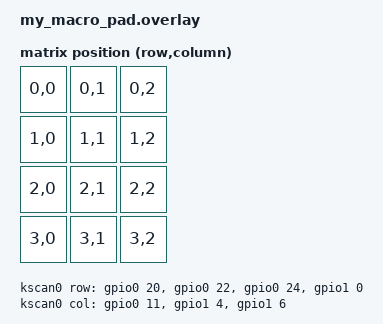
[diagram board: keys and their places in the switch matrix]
#include <dt-bindings/zmk/matrix_transform.h>
#include <physical_layouts.dtsi>

/ {
    chosen {
        zmk,kscan = &kscan0;
        zmk,physical-layout = &macro_pad_layout;
        zmk,underglow = &led_strip;     /* added this for RBG's */
    };

    macro_pad_transform: macro_pad_transform {
        compatible = "zmk,matrix-transform";
        columns = <3>;
        rows = <4>;
        map = <
            RC(0,0) RC(0,1) RC(0,2)
            RC(1,0) RC(1,1) RC(1,2)
            RC(2,0) RC(2,1) RC(2,2)
            RC(3,0) RC(3,1) RC(3,2)
        >;
    };

    macro_pad_layout: macro_pad_layout {
        compatible = "zmk,physical-layout";
        display-name = "Macro Pad";
        transform = <&macro_pad_transform>;
        kscan = <&kscan0>;
        keys =
             <&key_physical_attrs 100 100    0    0 0 0 0>
           , <&key_physical_attrs 100 100  100    0 0 0 1>
           , <&key_physical_attrs 100 100  200    0 0 0 2>
           , <&key_physical_attrs 100 100    0  100 0 1 0>
           , <&key_physical_attrs 100 100  100  100 0 1 1>
           , <&key_physical_attrs 100 100  200  100 0 1 2>
           , <&key_physical_attrs 100 100    0  200 0 2 0>
           , <&key_physical_attrs 100 100  100  200 0 2 1>
           , <&key_physical_attrs 100 100  200  200 0 2 2>
           , <&key_physical_attrs 100 100    0  300 0 3 0>
           , <&key_physical_attrs 100 100  100  300 0 3 1>
           , <&key_physical_attrs 100 100  200  300 0 3 2>;
    };
};

&pro_micro {
    kscan0: kscan {
        compatible = "zmk,kscan-gpio-matrix";
        label = "KSCAN";
        diode-direction = "col2row";
        debounce-press-ms = <5>;
        debounce-release-ms = <5>;

        row-gpios = <&gpio0 20 (GPIO_ACTIVE_LOW | GPIO_PULL_UP)>,
                    <&gpio0 22 (GPIO_ACTIVE_LOW | GPIO_PULL_UP)>,
                    <&gpio0 24 (GPIO_ACTIVE_LOW | GPIO_PULL_UP)>,
                    <&gpio1 0  (GPIO_ACTIVE_LOW | GPIO_PULL_UP)>;

        col-gpios = <&gpio0 11 (GPIO_ACTIVE_LOW | GPIO_PULL_UP)>,
                    <&gpio1 4  (GPIO_ACTIVE_LOW | GPIO_PULL_UP)>,
                    <&gpio1 6  (GPIO_ACTIVE_LOW | GPIO_PULL_UP)>;
    };
};
